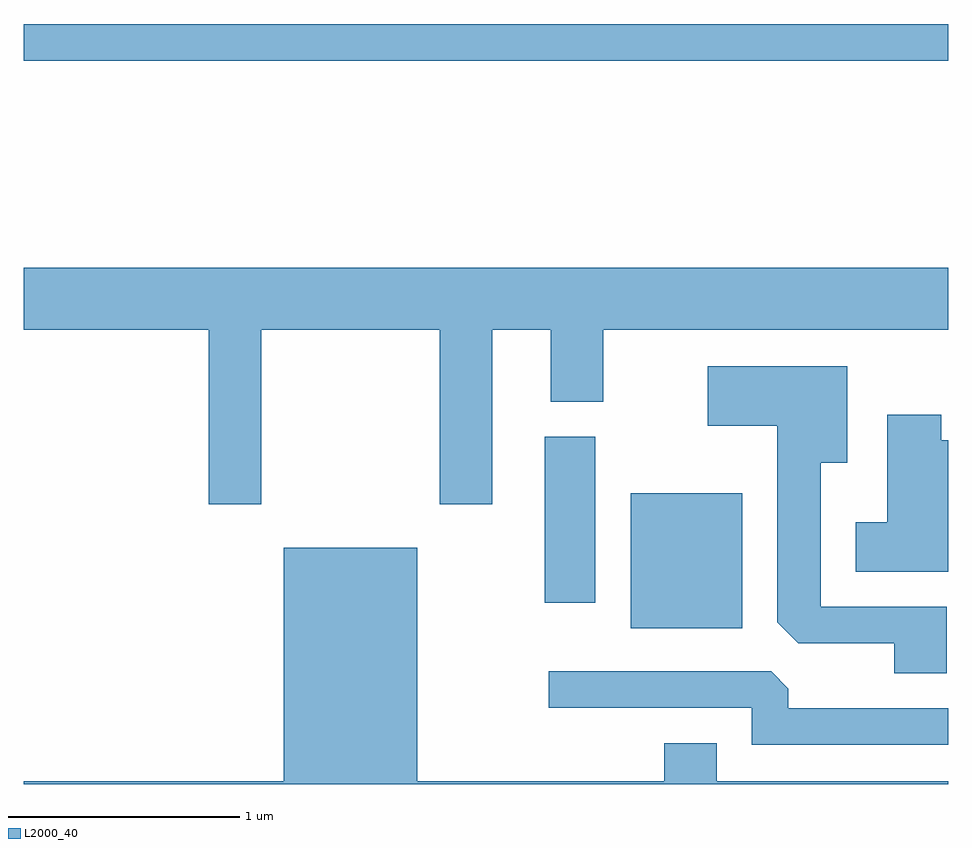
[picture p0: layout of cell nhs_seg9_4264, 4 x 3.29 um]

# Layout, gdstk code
import gdstk
lib = gdstk.Library(unit=1e-6, precision=1e-09)
def R(c, l, rs):  # rectangles x0, y0, x1, y1
    for r in rs: c.add(gdstk.rectangle(r[:2], r[2:], *l))
def P(c, l, *ps):  # polygons
    for p in ps: c.add(gdstk.Polygon(p, *l))
L2000_40 = (2000, 40)

nhs_seg9_4264 = lib.new_cell('nhs_seg9_4264')
R(nhs_seg9_4264, L2000_40, [(312.236,2077.106,312.719,2077.689), (311.866,2077.216,312.084,2077.934), (309.611,2079.561,313.611,2079.719)])
P(nhs_seg9_4264, L2000_40, [(310.639,2078.396),(311.411,2078.396),(311.411,2077.641),(311.639,2077.641),(311.639,2078.396),(311.891,2078.396),(311.891,2078.086),(312.119,2078.086),(312.119,2078.396),(313.611,2078.396),(313.611,2078.664),(309.611,2078.664),(309.611,2078.396),(310.411,2078.396),(310.411,2077.641),(310.639,2077.641)],
  [(313.604,2077.199),(313.059,2077.199),(313.059,2077.821),(313.174,2077.821),(313.174,2078.239),(312.571,2078.239),(312.571,2077.981),(312.871,2077.981),(312.871,2077.132),(312.962,2077.041),(313.376,2077.041),(313.376,2076.911),(313.604,2076.911)],
  [(313.611,2077.919),(313.579,2077.919),(313.579,2078.029),(313.346,2078.029),(313.346,2077.564),(313.211,2077.564),(313.211,2077.351),(313.611,2077.351)],
  [(313.611,2076.444),(312.609,2076.444),(312.609,2076.609),(312.381,2076.609),(312.381,2076.444),(311.314,2076.444),(311.314,2077.454),(310.736,2077.454),(310.736,2076.444),(309.611,2076.444),(309.611,2076.432),(313.611,2076.432)],
  [(313.611,2076.759),(312.919,2076.759),(312.919,2076.844),(312.844,2076.919),(311.883,2076.919),(311.883,2076.761),(312.761,2076.761),(312.761,2076.601),(313.611,2076.601)])

lib.write_gds('nhs_seg9_4264.gds')
